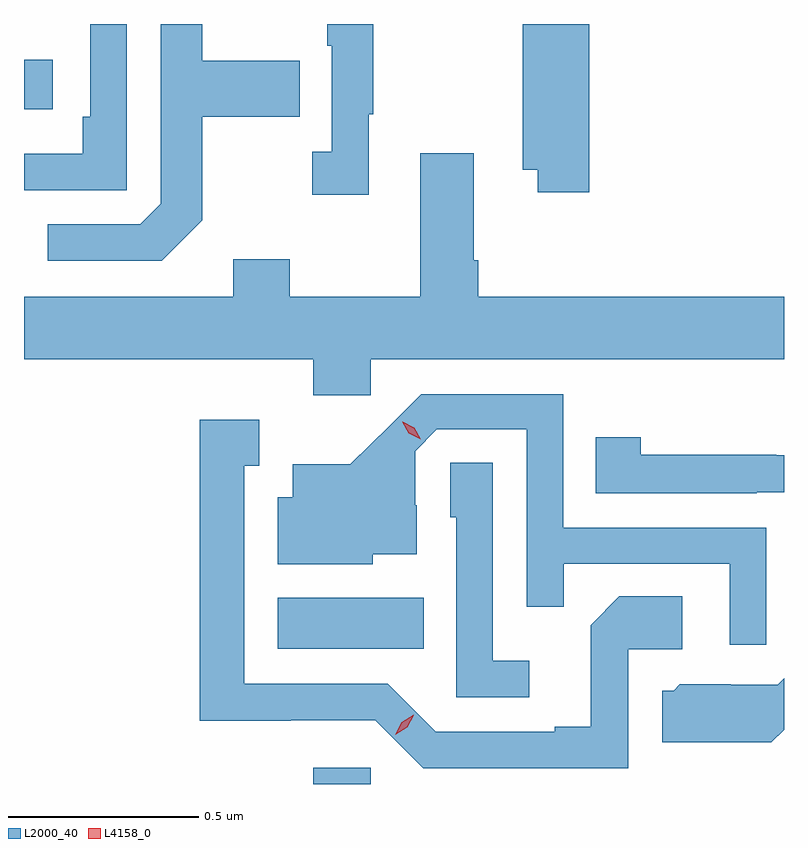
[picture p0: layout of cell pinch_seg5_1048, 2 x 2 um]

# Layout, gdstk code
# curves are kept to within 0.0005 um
import gdstk
lib = gdstk.Library(unit=1e-6, precision=1e-09)
def R(c, l, rs):  # rectangles x0, y0, x1, y1
    for r in rs: c.add(gdstk.rectangle(r[:2], r[2:], *l))
def P(c, l, *ps):  # polygons
    for p in ps: c.add(gdstk.Polygon(p, *l))
L2000_40 = (2000, 40)
L4158_0 = (4158, 0)

pinch_seg5_1048 = lib.new_cell('pinch_seg5_1048')
R(pinch_seg5_1048, L2000_40, [(701.123,843.654,701.274,843.697), (701.03,844.01,701.414,844.144), (700.362,845.43,700.438,845.56)])
P(pinch_seg5_1048, L2000_40, [(701.269,845.417),(701.281,845.417),(701.281,845.654),(701.16,845.654),(701.16,845.597),(701.172,845.597),(701.172,845.318),(701.121,845.318),(701.121,845.205),(701.269,845.205)],
  [(700.831,845.137),(700.831,845.41),(701.087,845.41),(701.087,845.557),(700.831,845.557),(700.831,845.653),(700.818,845.653),(700.818,845.654),(700.722,845.654),(700.722,845.181),(700.668,845.127),(700.425,845.127),(700.425,845.031),(700.725,845.031)],
  [(700.632,845.654),(700.536,845.654),(700.536,845.41),(700.516,845.41),(700.516,845.313),(700.362,845.313),(700.362,845.217),(700.632,845.217)],
  [(701.849,845.654),(701.674,845.654),(701.674,845.27),(701.714,845.27),(701.714,845.211),(701.849,845.211)],
  [(701.274,844.772),(702.362,844.772),(702.362,844.936),(701.558,844.936),(701.558,845.032),(701.545,845.032),(701.545,845.314),(701.405,845.314),(701.405,844.936),(701.061,844.936),(701.061,845.035),(700.913,845.035),(700.913,844.936),(700.362,844.936),(700.362,844.772),(701.123,844.772),(701.123,844.677),(701.274,844.677)],
  [(702.315,844.329),(701.781,844.329),(701.781,844.68),(701.408,844.68),(701.221,844.495),(701.069,844.495),(701.069,844.408),(701.03,844.408),(701.03,844.232),(701.28,844.232),(701.28,844.259),(701.395,844.259),(701.395,844.388),(701.391,844.388),(701.391,844.53),(701.448,844.587),(701.685,844.587),(701.685,844.12),(701.783,844.12),(701.783,844.233),(702.219,844.233),(702.219,844.02),(702.315,844.02)],
  [(701.952,844.008),(702.094,844.008),(702.094,844.148),(701.929,844.148),(701.853,844.072),(701.853,843.805),(701.759,843.805),(701.759,843.792),(701.445,843.792),(701.319,843.918),(700.942,843.918),(700.942,844.491),(700.981,844.491),(700.981,844.612),(700.824,844.612),(700.824,843.821),(701.064,843.821),(701.064,843.822),(701.286,843.822),(701.412,843.696),(701.952,843.696)],
  [(702.29,844.422),(702.362,844.422),(702.362,844.519),(702.341,844.519),(702.341,844.52),(701.985,844.52),(701.985,844.567),(701.866,844.567),(701.866,844.419),(702.29,844.419)],
  [(701.692,843.979),(701.595,843.979),(701.595,844.499),(701.484,844.499),(701.484,844.356),(701.499,844.356),(701.499,843.882),(701.692,843.882)],
  [(702.362,843.797),(702.362,843.932),(702.345,843.915),(702.222,843.915),(702.222,843.916),(702.088,843.916),(702.072,843.9),(702.041,843.9),(702.041,843.764),(702.329,843.764)])
P(pinch_seg5_1048, L4158_0, [(701.406,844.561),(701.375,844.577),(701.358,844.607),(701.358,844.607),(701.359,844.607),(701.389,844.591),(701.406,844.561),(701.406,844.561)],
  [(701.339,843.783),(701.339,843.784),(701.356,843.816),(701.388,843.836),(701.388,843.836),(701.388,843.835),(701.371,843.803),(701.339,843.783)])

lib.write_gds('pinch_seg5_1048.gds')
